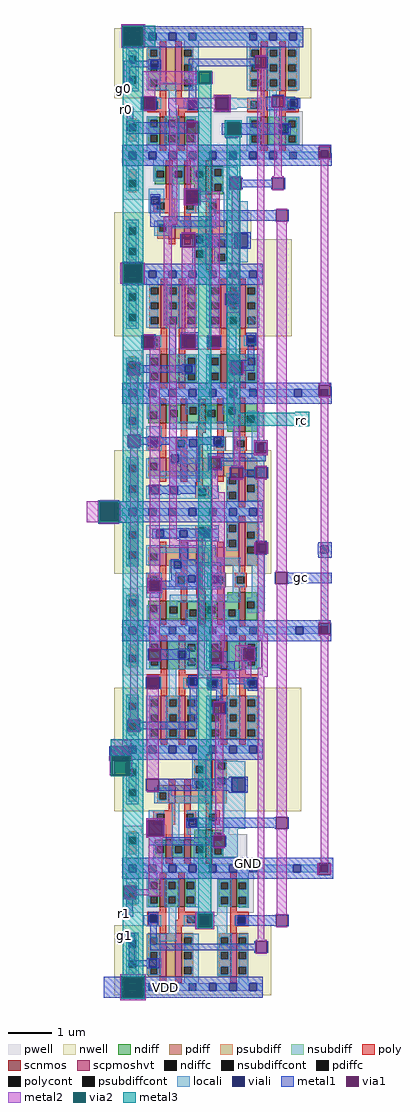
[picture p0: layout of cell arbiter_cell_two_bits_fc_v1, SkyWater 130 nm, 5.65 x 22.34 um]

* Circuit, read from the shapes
.subckt arbiter_cell_two_bits_fc_v1 gc rc GND r0 g0 g1 r1 VDD
XM1 g1 sky130_fd_sc_hd__nand2_1_2/A GND GND sky130_fd_pr__nfet_01v8 w=0.65 l=0.15
XM2 n1 sky130_fd_sc_hd__or4_1_1/A GND GND sky130_fd_pr__nfet_01v8 w=0.42 l=0.15 m=4
XM3 n2 sky130_fd_sc_hd__nand2_1_0/A GND GND sky130_fd_pr__nfet_01v8 w=0.42 l=0.15 m=4
XM4 g0 sky130_fd_sc_hd__nor2_1_1/A GND GND sky130_fd_pr__nfet_01v8 w=0.65 l=0.15
XM5 n3 sky130_fd_sc_hd__nand2_1_0/B GND GND sky130_fd_pr__nfet_01v8 w=0.65 l=0.15
XM6 n4 sky130_fd_sc_hd__or4_1_1/A GND GND sky130_fd_pr__nfet_01v8 w=0.65 l=0.15
XM7 n5 r1 GND GND sky130_fd_pr__nfet_01v8 w=0.42 l=0.15
XM8 n6 gc GND GND sky130_fd_pr__nfet_01v8 w=0.42 l=0.15
XM9 GND sky130_fd_sc_hd__nor2_1_1/A g1 GND sky130_fd_pr__nfet_01v8 w=0.65 l=0.15
XM10 GND sky130_fd_sc_hd__nand2_1_3/A g0 GND sky130_fd_pr__nfet_01v8 w=0.65 l=0.15
XM11 sky130_fd_sc_hd__or4_1_1/A sky130_fd_sc_hd__nand2_1_0/A n3 GND sky130_fd_pr__nfet_01v8 w=0.65 l=0.15
XM12 sky130_fd_sc_hd__nand2_1_0/A sky130_fd_sc_hd__nand2_1_1/A n4 GND sky130_fd_pr__nfet_01v8 w=0.65 l=0.15
XM13 GND gc n5 GND sky130_fd_pr__nfet_01v8 w=0.42 l=0.15
XM14 GND r0 n6 GND sky130_fd_pr__nfet_01v8 w=0.42 l=0.15
XM15 sky130_fd_sc_hd__nand2_1_0/B n5 GND GND sky130_fd_pr__nfet_01v8 w=0.65 l=0.15
XM16 sky130_fd_sc_hd__nand2_1_1/A n6 GND GND sky130_fd_pr__nfet_01v8 w=0.65 l=0.15
XM17 n7 r1 GND GND sky130_fd_pr__nfet_01v8 w=0.65 l=0.15
XM18 n8 r0 GND GND sky130_fd_pr__nfet_01v8 w=0.65 l=0.15
XM19 GND gc sky130_fd_sc_hd__nor2_1_1/A GND sky130_fd_pr__nfet_01v8 w=0.65 l=0.15
XM20 sky130_fd_sc_hd__nand2_1_2/A n1 GND GND sky130_fd_pr__nfet_01v8 w=0.65 l=0.15
XM21 sky130_fd_sc_hd__nand2_1_3/A n2 GND GND sky130_fd_pr__nfet_01v8 w=0.65 l=0.15
XM22 sky130_fd_sc_hd__nand2_1_4/B sky130_fd_sc_hd__nand2_1_3/A n7 GND sky130_fd_pr__nfet_01v8 w=0.65 l=0.15
XM23 sky130_fd_sc_hd__nand2_1_4/A sky130_fd_sc_hd__nand2_1_2/A n8 GND sky130_fd_pr__nfet_01v8 w=0.65 l=0.15
XM24 n9 sky130_fd_sc_hd__nand2_1_4/B GND GND sky130_fd_pr__nfet_01v8 w=0.65 l=0.15
XM25 rc sky130_fd_sc_hd__nand2_1_4/A n9 GND sky130_fd_pr__nfet_01v8 w=0.65 l=0.15
XM26 n10 sky130_fd_sc_hd__nand2_1_2/A g1 VDD sky130_fd_pr__pfet_01v8_hvt w=1 l=0.15
XM27 n11 sky130_fd_sc_hd__or4_1_1/A n1 VDD sky130_fd_pr__pfet_01v8_hvt w=0.42 l=0.15
XM28 n12 sky130_fd_sc_hd__nand2_1_0/A n2 VDD sky130_fd_pr__pfet_01v8_hvt w=0.42 l=0.15
XM29 n13 sky130_fd_sc_hd__nor2_1_1/A g0 VDD sky130_fd_pr__pfet_01v8_hvt w=1 l=0.15
XM30 sky130_fd_sc_hd__or4_1_1/A sky130_fd_sc_hd__nand2_1_0/B VDD VDD sky130_fd_pr__pfet_01v8_hvt w=1 l=0.15
XM31 sky130_fd_sc_hd__nand2_1_0/A sky130_fd_sc_hd__or4_1_1/A VDD VDD sky130_fd_pr__pfet_01v8_hvt w=1 l=0.15
XM32 n14 r1 n5 VDD sky130_fd_pr__pfet_01v8_hvt w=0.42 l=0.15
XM33 n15 gc n6 VDD sky130_fd_pr__pfet_01v8_hvt w=0.42 l=0.15
XM34 VDD sky130_fd_sc_hd__nor2_1_1/A n10 VDD sky130_fd_pr__pfet_01v8_hvt w=1 l=0.15
XM35 VDD sky130_fd_sc_hd__nand2_1_3/A n13 VDD sky130_fd_pr__pfet_01v8_hvt w=1 l=0.15
XM36 VDD sky130_fd_sc_hd__nand2_1_0/A sky130_fd_sc_hd__or4_1_1/A VDD sky130_fd_pr__pfet_01v8_hvt w=1 l=0.15
XM37 VDD sky130_fd_sc_hd__nand2_1_1/A sky130_fd_sc_hd__nand2_1_0/A VDD sky130_fd_pr__pfet_01v8_hvt w=1 l=0.15
XM38 n16 sky130_fd_sc_hd__or4_1_1/A n11 VDD sky130_fd_pr__pfet_01v8_hvt w=0.42 l=0.15
XM39 n17 sky130_fd_sc_hd__nand2_1_0/A n12 VDD sky130_fd_pr__pfet_01v8_hvt w=0.42 l=0.15
XM40 VDD gc n14 VDD sky130_fd_pr__pfet_01v8_hvt w=0.42 l=0.15
XM41 VDD r0 n15 VDD sky130_fd_pr__pfet_01v8_hvt w=0.42 l=0.15
XM42 n18 sky130_fd_sc_hd__or4_1_1/A n16 VDD sky130_fd_pr__pfet_01v8_hvt w=0.42 l=0.15
XM43 n19 sky130_fd_sc_hd__nand2_1_0/A n17 VDD sky130_fd_pr__pfet_01v8_hvt w=0.42 l=0.15
XM44 sky130_fd_sc_hd__nand2_1_0/B n5 VDD VDD sky130_fd_pr__pfet_01v8_hvt w=1 l=0.15
XM45 sky130_fd_sc_hd__nand2_1_1/A n6 VDD VDD sky130_fd_pr__pfet_01v8_hvt w=1 l=0.15
XM46 VDD sky130_fd_sc_hd__or4_1_1/A n18 VDD sky130_fd_pr__pfet_01v8_hvt w=0.42 l=0.15
XM47 VDD sky130_fd_sc_hd__nand2_1_0/A n19 VDD sky130_fd_pr__pfet_01v8_hvt w=0.42 l=0.15
XM48 sky130_fd_sc_hd__nand2_1_4/B r1 VDD VDD sky130_fd_pr__pfet_01v8_hvt w=1 l=0.15
XM49 sky130_fd_sc_hd__nand2_1_4/A r0 VDD VDD sky130_fd_pr__pfet_01v8_hvt w=1 l=0.15
XM50 VDD gc sky130_fd_sc_hd__nor2_1_1/A VDD sky130_fd_pr__pfet_01v8_hvt w=1 l=0.15
XM51 sky130_fd_sc_hd__nand2_1_2/A n1 VDD VDD sky130_fd_pr__pfet_01v8_hvt w=1 l=0.15
XM52 sky130_fd_sc_hd__nand2_1_3/A n2 VDD VDD sky130_fd_pr__pfet_01v8_hvt w=1 l=0.15
XM53 VDD sky130_fd_sc_hd__nand2_1_3/A sky130_fd_sc_hd__nand2_1_4/B VDD sky130_fd_pr__pfet_01v8_hvt w=1 l=0.15
XM54 VDD sky130_fd_sc_hd__nand2_1_2/A sky130_fd_sc_hd__nand2_1_4/A VDD sky130_fd_pr__pfet_01v8_hvt w=1 l=0.15
XM55 rc sky130_fd_sc_hd__nand2_1_4/B VDD VDD sky130_fd_pr__pfet_01v8_hvt w=1 l=0.15
XM56 VDD sky130_fd_sc_hd__nand2_1_4/A rc VDD sky130_fd_pr__pfet_01v8_hvt w=1 l=0.15
.ends

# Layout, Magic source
magic
tech sky130A
magscale 1 2
<< nwell >>
rect 4657 6706 5362 6991
rect 4657 6670 4695 6706
rect 4780 6670 5362 6706
rect 4657 6026 4799 6148
rect 4657 5582 5470 6026
rect 4657 4494 4799 5060
rect 4657 3956 5079 3972
rect 4657 3867 5078 3956
rect 5166 3909 5515 3972
rect 5165 3867 5515 3909
rect 4657 3406 5515 3867
rect 4657 2872 4780 2884
rect 4657 2563 4799 2872
<< pwell >>
rect 4698 6430 5434 6612
rect 4699 6206 5184 6388
rect 4880 5510 5225 5524
rect 4880 5381 4891 5510
rect 5060 5381 5225 5510
rect 4880 5342 5225 5381
rect 4713 5158 5286 5294
rect 4760 4396 5338 4436
rect 4698 4260 5338 4396
rect 4760 4254 5338 4260
rect 4695 4030 5287 4212
rect 4742 3166 5268 3302
rect 4708 2942 5293 3124
<< poly >>
rect 5281 3968 5297 3999
<< locali >>
rect 5034 6965 5265 6970
rect 5034 6941 5334 6965
rect 5046 6936 5334 6941
rect 4712 6703 4747 6874
rect 5178 6669 5219 6673
rect 5178 6628 5304 6669
rect 5178 6621 5219 6628
rect 4695 6400 5603 6426
rect 5637 6400 5641 6426
rect 4695 6397 5641 6400
rect 5414 6392 5641 6397
rect 5160 6136 5270 6199
rect 5207 6051 5270 6136
rect 5207 5919 5270 5988
rect 5275 5630 5309 5685
rect 4794 5579 4841 5585
rect 4695 5304 4724 5338
rect 4758 5304 5482 5338
rect 5516 5304 5603 5338
rect 4814 5118 4866 5151
rect 4814 5084 4824 5118
rect 4858 5109 5114 5118
rect 4858 5084 5002 5109
rect 4814 5062 4866 5084
rect 5036 5084 5114 5109
rect 5148 5084 5159 5117
rect 5091 5074 5159 5084
rect 5288 5088 5346 5096
rect 5091 5072 5107 5074
rect 5091 5056 5163 5072
rect 5288 5062 5312 5088
rect 4903 4861 4915 4893
rect 4949 4861 5085 4893
rect 4903 4859 5085 4861
rect 5312 4828 5346 5054
rect 4705 4760 4724 4794
rect 4758 4760 5308 4794
rect 5045 4694 5079 4699
rect 5045 4665 5068 4694
rect 5314 4322 5348 4592
rect 5603 4254 5637 4588
rect 5469 4250 5603 4254
rect 4695 4216 4724 4250
rect 4758 4216 5489 4250
rect 5523 4220 5603 4250
rect 5523 4216 5527 4220
rect 4906 4142 5037 4160
rect 5241 4149 5281 4151
rect 4906 4107 4950 4142
rect 4985 4107 5037 4142
rect 5239 4140 5281 4149
rect 5239 4130 5262 4140
rect 4906 4080 5037 4107
rect 5220 4111 5262 4130
rect 5220 4090 5254 4111
rect 4981 3984 5004 4016
rect 5038 3984 5040 4016
rect 5092 4008 5138 4022
rect 5102 4006 5138 4008
rect 4981 3982 5040 3984
rect 5127 3998 5138 4006
rect 5080 3830 5102 3858
rect 5195 3559 5258 3635
rect 5195 3389 5258 3496
rect 5160 3326 5258 3389
rect 5310 3128 5478 3162
rect 5512 3128 5603 3162
rect 4794 2898 4820 2930
rect 4854 2898 4874 2901
rect 4794 2885 4874 2898
rect 4983 2881 5048 2930
rect 5097 2881 5163 2930
rect 5127 2878 5163 2881
rect 4885 2584 5084 2618
<< viali >>
rect 4825 6810 4859 6844
rect 4792 6625 4840 6673
rect 5000 6628 5034 6662
rect 5126 6621 5178 6673
rect 5464 6632 5498 6666
rect 5415 6511 5455 6551
rect 5603 6400 5637 6434
rect 4828 6185 4863 6220
rect 4989 6194 5042 6247
rect 5207 5988 5270 6051
rect 5178 5730 5221 5773
rect 4794 5532 4841 5579
rect 4976 5534 5026 5584
rect 5097 5537 5137 5577
rect 5268 5551 5302 5585
rect 4982 5414 5016 5448
rect 4724 5304 4758 5338
rect 5482 5304 5516 5338
rect 5603 5304 5637 5338
rect 4824 5084 4858 5118
rect 5002 5075 5036 5109
rect 5114 5084 5148 5118
rect 5312 5054 5346 5088
rect 4919 5005 4953 5039
rect 4827 4861 4861 4895
rect 4915 4861 4949 4895
rect 4724 4760 4758 4794
rect 4851 4660 4885 4694
rect 4959 4660 4993 4694
rect 5068 4659 5102 4693
rect 5311 4592 5351 4632
rect 4932 4518 4966 4552
rect 4824 4419 4864 4459
rect 4996 4454 5030 4488
rect 5104 4450 5138 4484
rect 5603 4588 5637 4622
rect 4724 4216 4758 4250
rect 5489 4216 5523 4250
rect 5603 4220 5637 4254
rect 4950 4107 4985 4142
rect 5262 4106 5296 4140
rect 4814 3974 4856 4016
rect 5004 3984 5038 4018
rect 5093 3972 5127 4006
rect 5276 3971 5310 4005
rect 5195 3496 5258 3559
rect 4816 3298 4878 3360
rect 5000 3336 5035 3371
rect 5478 3128 5512 3162
rect 5603 3128 5637 3162
rect 4820 2898 4854 2932
rect 5048 2881 5097 2930
rect 5223 2889 5258 2924
rect 4819 2694 4853 2728
<< metal1 >>
rect 4697 7003 4793 7009
rect 4695 6905 4696 7001
rect 4793 6907 4799 7001
rect 5053 6984 5281 7001
rect 4966 6970 5281 6984
rect 4966 6966 5267 6970
rect 4966 6935 5281 6966
rect 4697 6905 4799 6907
rect 5032 6905 5281 6935
rect 4697 6901 4793 6905
rect 5297 6852 5303 6861
rect 4813 6844 4871 6850
rect 4813 6842 4825 6844
rect 4702 6812 4825 6842
rect 4702 6736 4732 6812
rect 4813 6810 4825 6812
rect 4859 6810 4871 6844
rect 4813 6804 4871 6810
rect 5000 6818 5303 6852
rect 4695 6706 4733 6736
rect 4695 6603 4746 6633
rect 4780 6619 4786 6679
rect 4846 6619 4852 6679
rect 5000 6674 5034 6818
rect 5297 6809 5303 6818
rect 5355 6809 5361 6861
rect 5120 6679 5184 6685
rect 4994 6662 5040 6674
rect 4994 6628 5000 6662
rect 5034 6628 5040 6662
rect 4994 6616 5040 6628
rect 5382 6681 5434 6687
rect 5351 6632 5382 6678
rect 5354 6629 5382 6632
rect 5434 6672 5487 6678
rect 5434 6666 5510 6672
rect 5434 6632 5464 6666
rect 5498 6632 5510 6666
rect 5434 6629 5510 6632
rect 5354 6626 5510 6629
rect 5354 6616 5487 6626
rect 5120 6609 5184 6615
rect 4715 6561 4745 6603
rect 4715 6508 4989 6561
rect 5042 6508 5048 6561
rect 5165 6557 5243 6571
rect 4715 6507 4745 6508
rect 5151 6505 5178 6557
rect 5230 6551 5467 6557
rect 5230 6511 5415 6551
rect 5455 6511 5467 6551
rect 5230 6505 5467 6511
rect 5165 6492 5243 6505
rect 5169 6489 5221 6492
rect 4758 6361 4799 6457
rect 5402 6448 5652 6457
rect 5402 6396 5594 6448
rect 5646 6419 5652 6448
rect 5646 6396 5653 6419
rect 5402 6392 5653 6396
rect 5238 6361 5653 6392
rect 4976 6253 5055 6259
rect 5182 6255 5188 6307
rect 5240 6298 5246 6307
rect 5376 6298 5382 6307
rect 5240 6264 5382 6298
rect 5240 6255 5246 6264
rect 5376 6255 5382 6264
rect 5434 6255 5440 6307
rect 4822 6220 4869 6232
rect 4822 6185 4828 6220
rect 4863 6185 4869 6220
rect 4822 6130 4869 6185
rect 4976 6188 4983 6253
rect 5048 6188 5055 6253
rect 4976 6181 5055 6188
rect 5393 6158 5399 6160
rect 5115 6130 5399 6158
rect 4822 6111 5399 6130
rect 4822 6083 5162 6111
rect 5393 6108 5399 6111
rect 5451 6108 5457 6160
rect 5195 6051 5282 6057
rect 4961 5988 4967 6051
rect 5030 5988 5207 6051
rect 5270 5988 5282 6051
rect 5195 5982 5282 5988
rect 4695 5917 4791 5923
rect 4791 5821 4799 5913
rect 4695 5817 4799 5821
rect 4695 5815 4791 5817
rect 5172 5779 5227 5785
rect 5166 5724 5172 5779
rect 5227 5724 5233 5779
rect 5172 5718 5227 5724
rect 4788 5585 4847 5591
rect 4962 5590 5044 5599
rect 4782 5526 4788 5585
rect 4840 5579 4847 5585
rect 4841 5532 4847 5579
rect 4840 5526 4847 5532
rect 4961 5527 4967 5590
rect 5030 5527 5044 5590
rect 5262 5585 5308 5597
rect 5085 5531 5091 5583
rect 5143 5531 5149 5583
rect 5262 5551 5268 5585
rect 5302 5551 5308 5585
rect 5262 5539 5308 5551
rect 4788 5520 4847 5526
rect 4962 5522 5044 5527
rect 5270 5472 5300 5539
rect 5187 5464 5300 5472
rect 4717 5405 4723 5457
rect 4775 5448 4781 5457
rect 4970 5448 5028 5454
rect 4775 5414 4982 5448
rect 5016 5414 5028 5448
rect 5187 5442 5194 5464
rect 4775 5405 4781 5414
rect 4970 5408 5028 5414
rect 5246 5423 5300 5464
rect 5194 5406 5246 5412
rect 4695 5338 4799 5369
rect 5282 5358 5652 5369
rect 5282 5338 5594 5358
rect 5646 5351 5652 5358
rect 4695 5304 4724 5338
rect 4758 5304 4799 5338
rect 5305 5332 5482 5338
rect 4695 5273 4799 5304
rect 5255 5304 5482 5332
rect 5516 5306 5594 5338
rect 5646 5306 5655 5351
rect 5516 5304 5603 5306
rect 5637 5304 5655 5306
rect 5255 5301 5655 5304
rect 5259 5273 5655 5301
rect 4723 5127 4775 5133
rect 4812 5118 4870 5124
rect 4997 5118 5043 5120
rect 5102 5118 5160 5124
rect 4775 5084 4824 5118
rect 4858 5109 5114 5118
rect 4858 5084 5002 5109
rect 4812 5078 4870 5084
rect 4723 5069 4775 5075
rect 4911 5075 5002 5084
rect 5036 5084 5114 5109
rect 5148 5084 5160 5118
rect 5036 5075 5050 5084
rect 5102 5078 5160 5084
rect 5296 5097 5362 5104
rect 4911 5039 5050 5075
rect 5296 5046 5303 5097
rect 4911 5005 4919 5039
rect 4953 5005 5050 5039
rect 4911 4914 5050 5005
rect 5086 5045 5303 5046
rect 5355 5045 5362 5097
rect 5086 5037 5362 5045
rect 5086 5026 5351 5037
rect 5086 4974 5092 5026
rect 5144 5010 5351 5026
rect 5144 4974 5151 5010
rect 5086 4967 5151 4974
rect 5188 4930 5194 4982
rect 5246 4971 5252 4982
rect 5299 4971 5305 4982
rect 5246 4941 5305 4971
rect 5246 4930 5252 4941
rect 5299 4930 5305 4941
rect 5357 4930 5363 4982
rect 4911 4901 5032 4914
rect 4815 4897 4873 4901
rect 4903 4897 5032 4901
rect 4815 4895 5032 4897
rect 4815 4861 4827 4895
rect 4861 4861 4915 4895
rect 4949 4861 5032 4895
rect 4815 4859 5032 4861
rect 4815 4855 4873 4859
rect 4903 4855 4961 4859
rect 4585 4826 4681 4831
rect 4585 4825 4746 4826
rect 4681 4794 4799 4825
rect 5055 4819 5089 4825
rect 4681 4760 4724 4794
rect 4758 4760 4799 4794
rect 4681 4729 4799 4760
rect 4585 4728 4746 4729
rect 4585 4723 4681 4728
rect 4946 4700 5002 4701
rect 4833 4699 5002 4700
rect 4833 4694 5137 4699
rect 4833 4660 4851 4694
rect 4885 4660 4959 4694
rect 4993 4693 5137 4694
rect 4993 4660 5068 4693
rect 4833 4659 5068 4660
rect 5102 4659 5137 4693
rect 4833 4654 5137 4659
rect 4956 4643 5137 4654
rect 4956 4560 4996 4643
rect 5305 4638 5357 4644
rect 5593 4628 5654 4639
rect 5305 4580 5357 4586
rect 5591 4622 5654 4628
rect 5591 4588 5603 4622
rect 5637 4588 5654 4622
rect 5591 4582 5654 4588
rect 5593 4568 5654 4582
rect 4916 4552 5028 4560
rect 4916 4518 4932 4552
rect 4966 4546 5028 4552
rect 4966 4518 5149 4546
rect 4916 4497 5149 4518
rect 4919 4488 5149 4497
rect 4809 4465 4879 4474
rect 4809 4413 4818 4465
rect 4870 4462 4879 4465
rect 4919 4462 4996 4488
rect 4870 4454 4996 4462
rect 5030 4484 5149 4488
rect 5030 4454 5104 4484
rect 4870 4450 5104 4454
rect 5138 4466 5149 4484
rect 5138 4450 5148 4466
rect 4870 4422 5148 4450
rect 5392 4449 5398 4501
rect 5450 4498 5456 4501
rect 5450 4451 5655 4498
rect 5450 4449 5456 4451
rect 4870 4413 4879 4422
rect 4809 4404 4879 4413
rect 4695 4250 4799 4281
rect 4695 4216 4724 4250
rect 4758 4248 4799 4250
rect 5279 4268 5650 4281
rect 5279 4250 5594 4268
rect 5279 4248 5489 4250
rect 4758 4219 5489 4248
rect 4758 4216 4799 4219
rect 4695 4185 4799 4216
rect 5229 4216 5489 4219
rect 5523 4216 5594 4250
rect 5646 4216 5652 4268
rect 5229 4206 5651 4216
rect 5293 4185 5651 4206
rect 5239 4155 5301 4157
rect 5239 4153 5309 4155
rect 4812 4098 4818 4150
rect 4870 4148 4876 4150
rect 4939 4148 5003 4151
rect 4870 4142 5003 4148
rect 4870 4107 4950 4142
rect 4985 4107 5003 4142
rect 4870 4101 5003 4107
rect 4870 4098 4876 4101
rect 4939 4099 5003 4101
rect 5095 4088 5101 4140
rect 5153 4092 5175 4140
rect 5239 4101 5248 4153
rect 5300 4101 5309 4153
rect 5239 4095 5309 4101
rect 5239 4093 5301 4095
rect 5153 4088 5210 4092
rect 5098 4063 5210 4088
rect 5142 4059 5210 4063
rect 5181 4042 5210 4059
rect 4802 3968 4808 4022
rect 4862 3968 4868 4022
rect 4998 4018 5044 4030
rect 5094 4018 5153 4021
rect 4998 3984 5004 4018
rect 5038 3984 5044 4018
rect 4998 3972 5044 3984
rect 5087 4006 5153 4018
rect 5087 3972 5093 4006
rect 5127 3972 5153 4006
rect 5181 4020 5215 4042
rect 5181 4019 5280 4020
rect 5181 4017 5309 4019
rect 5181 4005 5316 4017
rect 5181 3990 5276 4005
rect 5182 3987 5276 3990
rect 4717 3773 4723 3825
rect 4775 3816 4781 3825
rect 5004 3816 5038 3972
rect 5087 3960 5153 3972
rect 5255 3971 5276 3987
rect 5310 3971 5316 4005
rect 5255 3970 5316 3971
rect 5124 3905 5155 3960
rect 5270 3959 5316 3970
rect 5107 3853 5113 3905
rect 5165 3853 5171 3905
rect 4775 3782 5038 3816
rect 4775 3773 4781 3782
rect 4695 3705 4701 3737
rect 4635 3638 4641 3705
rect 4737 3638 4743 3705
rect 4787 3641 4799 3737
rect 5183 3559 5270 3565
rect 5183 3554 5195 3559
rect 4802 3500 4808 3554
rect 4862 3500 5195 3554
rect 5183 3496 5195 3500
rect 5258 3496 5270 3559
rect 5183 3490 5270 3496
rect 5393 3377 5399 3379
rect 4804 3366 4890 3375
rect 4804 3292 4810 3366
rect 4884 3292 4890 3366
rect 4988 3371 5399 3377
rect 4988 3336 5000 3371
rect 5035 3336 5399 3371
rect 4988 3330 5399 3336
rect 5393 3327 5399 3330
rect 5451 3327 5457 3379
rect 4804 3287 4890 3292
rect 5107 3287 5113 3295
rect 4804 3284 5113 3287
rect 4817 3251 5113 3284
rect 5107 3243 5113 3251
rect 5165 3243 5171 3295
rect 4787 3097 4799 3193
rect 5285 3187 5661 3193
rect 5219 3184 5661 3187
rect 5218 3170 5661 3184
rect 5215 3168 5661 3170
rect 5215 3162 5594 3168
rect 5215 3139 5478 3162
rect 5218 3128 5478 3139
rect 5512 3128 5594 3162
rect 5218 3116 5594 3128
rect 5646 3116 5661 3168
rect 5218 3097 5661 3116
rect 4696 3010 4702 3062
rect 4754 3010 4760 3062
rect 4714 2951 4742 3010
rect 4695 2923 4744 2951
rect 4814 2932 4860 2944
rect 4814 2898 4820 2932
rect 4854 2898 4860 2932
rect 4814 2886 4860 2898
rect 5030 2936 5117 2947
rect 4695 2821 4752 2849
rect 4724 2725 4752 2821
rect 4822 2800 4852 2886
rect 5030 2875 5042 2936
rect 5103 2875 5117 2936
rect 5393 2930 5399 2932
rect 5211 2924 5399 2930
rect 5211 2889 5223 2924
rect 5258 2889 5399 2924
rect 5211 2883 5399 2889
rect 5393 2880 5399 2883
rect 5451 2880 5457 2932
rect 5030 2866 5117 2875
rect 5299 2800 5305 2811
rect 4822 2770 5305 2800
rect 5299 2759 5305 2770
rect 5357 2759 5363 2811
rect 4807 2728 4865 2734
rect 4807 2725 4819 2728
rect 4724 2697 4819 2725
rect 4807 2694 4819 2697
rect 4853 2694 4865 2728
rect 4807 2688 4865 2694
rect 4611 2553 4695 2649
rect 4791 2553 5081 2649
<< via1 >>
rect 4697 6907 4793 7003
rect 4786 6673 4846 6679
rect 4786 6625 4792 6673
rect 4792 6625 4840 6673
rect 4840 6625 4846 6673
rect 4786 6619 4846 6625
rect 5303 6809 5355 6861
rect 5120 6673 5184 6679
rect 5120 6621 5126 6673
rect 5126 6621 5178 6673
rect 5178 6621 5184 6673
rect 5120 6615 5184 6621
rect 5382 6629 5434 6681
rect 4989 6508 5042 6561
rect 5178 6505 5230 6557
rect 5594 6434 5646 6448
rect 5594 6400 5603 6434
rect 5603 6400 5637 6434
rect 5637 6400 5646 6434
rect 5594 6396 5646 6400
rect 5188 6255 5240 6307
rect 5382 6255 5434 6307
rect 4983 6247 5048 6253
rect 4983 6194 4989 6247
rect 4989 6194 5042 6247
rect 5042 6194 5048 6247
rect 4983 6188 5048 6194
rect 5399 6108 5451 6160
rect 4967 5988 5030 6051
rect 4695 5821 4791 5917
rect 5172 5773 5227 5779
rect 5172 5730 5178 5773
rect 5178 5730 5221 5773
rect 5221 5730 5227 5773
rect 5172 5724 5227 5730
rect 4788 5579 4840 5585
rect 4788 5532 4794 5579
rect 4794 5532 4840 5579
rect 4788 5526 4840 5532
rect 4967 5584 5030 5590
rect 4967 5534 4976 5584
rect 4976 5534 5026 5584
rect 5026 5534 5030 5584
rect 4967 5527 5030 5534
rect 5091 5577 5143 5583
rect 5091 5537 5097 5577
rect 5097 5537 5137 5577
rect 5137 5537 5143 5577
rect 5091 5531 5143 5537
rect 4723 5405 4775 5457
rect 5194 5412 5246 5464
rect 5594 5338 5646 5358
rect 5594 5306 5603 5338
rect 5603 5306 5637 5338
rect 5637 5306 5646 5338
rect 4723 5075 4775 5127
rect 5303 5088 5355 5097
rect 5303 5054 5312 5088
rect 5312 5054 5346 5088
rect 5346 5054 5355 5088
rect 5303 5045 5355 5054
rect 5092 4974 5144 5026
rect 5194 4930 5246 4982
rect 5305 4930 5357 4982
rect 4585 4729 4681 4825
rect 5305 4632 5357 4638
rect 5305 4592 5311 4632
rect 5311 4592 5351 4632
rect 5351 4592 5357 4632
rect 5305 4586 5357 4592
rect 4818 4459 4870 4465
rect 4818 4419 4824 4459
rect 4824 4419 4864 4459
rect 4864 4419 4870 4459
rect 5398 4449 5450 4501
rect 4818 4413 4870 4419
rect 5594 4254 5646 4268
rect 5594 4220 5603 4254
rect 5603 4220 5637 4254
rect 5637 4220 5646 4254
rect 5594 4216 5646 4220
rect 4818 4098 4870 4150
rect 5101 4088 5153 4140
rect 5248 4140 5300 4153
rect 5248 4106 5262 4140
rect 5262 4106 5296 4140
rect 5296 4106 5300 4140
rect 5248 4101 5300 4106
rect 4808 4016 4862 4022
rect 4808 3974 4814 4016
rect 4814 3974 4856 4016
rect 4856 3974 4862 4016
rect 4808 3968 4862 3974
rect 4723 3773 4775 3825
rect 5113 3853 5165 3905
rect 4641 3638 4737 3705
rect 4808 3500 4862 3554
rect 4810 3360 4884 3366
rect 4810 3298 4816 3360
rect 4816 3298 4878 3360
rect 4878 3298 4884 3360
rect 4810 3292 4884 3298
rect 5399 3327 5451 3379
rect 5113 3243 5165 3295
rect 5594 3162 5646 3168
rect 5594 3128 5603 3162
rect 5603 3128 5637 3162
rect 5637 3128 5646 3162
rect 5594 3116 5646 3128
rect 4702 3010 4754 3062
rect 5042 2930 5103 2936
rect 5042 2881 5048 2930
rect 5048 2881 5097 2930
rect 5097 2881 5103 2930
rect 5042 2875 5103 2881
rect 5399 2880 5451 2932
rect 5305 2759 5357 2811
rect 4695 2553 4791 2649
<< metal2 >>
rect 4690 7003 4799 7011
rect 4690 6907 4697 7003
rect 4793 6907 4799 7003
rect 4690 6902 4799 6907
rect 5303 6861 5355 6867
rect 5303 6803 5355 6809
rect 4786 6793 5102 6795
rect 4786 6737 5044 6793
rect 5100 6737 5109 6793
rect 4786 6735 5102 6737
rect 4786 6679 4846 6735
rect 5113 6679 5191 6687
rect 5113 6670 5120 6679
rect 4906 6625 5120 6670
rect 4786 6613 4846 6619
rect 4910 6129 4947 6625
rect 5113 6615 5120 6625
rect 5184 6615 5191 6679
rect 5113 6607 5191 6615
rect 4989 6561 5042 6567
rect 4989 6259 5042 6508
rect 5165 6561 5243 6571
rect 5165 6501 5174 6561
rect 5234 6501 5243 6561
rect 5165 6492 5243 6501
rect 5188 6307 5240 6313
rect 4976 6253 5055 6259
rect 4976 6188 4983 6253
rect 5048 6246 5055 6253
rect 5188 6249 5240 6255
rect 5048 6196 5142 6246
rect 5048 6188 5055 6196
rect 4976 6181 5055 6188
rect 4884 6092 4947 6129
rect 4686 5821 4695 5917
rect 4791 5821 4797 5917
rect 4884 5668 4921 6092
rect 4967 6051 5030 6057
rect 4884 5632 4939 5668
rect 4788 5585 4840 5591
rect 4840 5526 4867 5579
rect 4788 5520 4867 5526
rect 4723 5457 4775 5463
rect 4723 5399 4775 5405
rect 4732 5127 4766 5399
rect 4717 5075 4723 5127
rect 4775 5075 4781 5127
rect 4591 4825 4677 4829
rect 4532 4729 4585 4825
rect 4681 4729 4687 4825
rect 4591 4725 4677 4729
rect 4732 3831 4766 5075
rect 4820 4474 4867 5520
rect 4909 5381 4939 5632
rect 4967 5590 5030 5988
rect 5092 5589 5142 6196
rect 5197 5785 5231 6249
rect 5172 5779 5231 5785
rect 5227 5724 5231 5779
rect 5172 5688 5231 5724
rect 4967 5521 5030 5527
rect 5091 5583 5143 5589
rect 5091 5525 5143 5531
rect 5188 5412 5194 5464
rect 5246 5412 5252 5464
rect 4909 4648 4944 5381
rect 5092 5026 5144 5032
rect 5205 4988 5235 5412
rect 5312 5104 5346 6803
rect 5376 6629 5382 6681
rect 5434 6629 5440 6681
rect 5391 6313 5425 6629
rect 5594 6448 5646 6454
rect 5594 6390 5646 6396
rect 5382 6307 5434 6313
rect 5382 6249 5434 6255
rect 5399 6160 5451 6166
rect 5399 6102 5451 6108
rect 5296 5097 5362 5104
rect 5296 5045 5303 5097
rect 5355 5045 5362 5097
rect 5296 5037 5362 5045
rect 5092 4968 5144 4974
rect 5194 4982 5246 4988
rect 5104 4867 5133 4968
rect 5194 4924 5246 4930
rect 5305 4982 5357 4988
rect 5305 4924 5357 4930
rect 5104 4838 5164 4867
rect 4909 4613 5077 4648
rect 4809 4465 4879 4474
rect 4809 4413 4818 4465
rect 4870 4413 4879 4465
rect 4809 4404 4879 4413
rect 4820 4156 4867 4404
rect 4818 4150 4870 4156
rect 4818 4092 4870 4098
rect 5038 4051 5073 4613
rect 5105 4213 5164 4838
rect 5316 4638 5346 4924
rect 5299 4586 5305 4638
rect 5357 4586 5363 4638
rect 5101 4154 5164 4213
rect 5316 4220 5346 4586
rect 5401 4507 5448 6102
rect 5603 5364 5637 6390
rect 5594 5358 5646 5364
rect 5594 5300 5646 5306
rect 5398 4501 5450 4507
rect 5398 4443 5450 4449
rect 5316 4190 5362 4220
rect 5211 4160 5282 4167
rect 5101 4140 5160 4154
rect 5153 4088 5160 4140
rect 5211 4153 5301 4160
rect 5211 4101 5248 4153
rect 5300 4101 5301 4153
rect 5211 4093 5301 4101
rect 5101 4083 5160 4088
rect 5101 4082 5153 4083
rect 5243 4051 5285 4093
rect 5332 4064 5362 4190
rect 4808 4022 4862 4028
rect 5038 4016 5285 4051
rect 5316 4022 5362 4064
rect 4723 3825 4775 3831
rect 4723 3767 4775 3773
rect 4641 3705 4737 3734
rect 4637 3638 4641 3657
rect 4737 3638 4741 3657
rect 4637 3571 4646 3638
rect 4732 3571 4741 3638
rect 4641 3566 4737 3571
rect 4808 3554 4862 3968
rect 5113 3905 5165 3911
rect 5113 3847 5165 3853
rect 4808 3494 4862 3500
rect 4804 3366 4890 3375
rect 4804 3292 4810 3366
rect 4884 3292 4890 3366
rect 5121 3301 5157 3847
rect 4804 3284 4890 3292
rect 5113 3295 5165 3301
rect 4702 3062 4754 3068
rect 4816 3050 4878 3284
rect 5113 3237 5165 3243
rect 4754 3022 4878 3050
rect 4816 3016 4878 3022
rect 4702 3004 4754 3010
rect 5030 2936 5117 2947
rect 5030 2875 5042 2936
rect 5103 2875 5117 2936
rect 5030 2866 5117 2875
rect 5316 2817 5346 4022
rect 5401 3385 5448 4443
rect 5603 4274 5637 5300
rect 5594 4268 5646 4274
rect 5594 4210 5646 4216
rect 5399 3379 5451 3385
rect 5399 3321 5451 3327
rect 5401 2938 5448 3321
rect 5603 3168 5637 4210
rect 5588 3116 5594 3168
rect 5646 3116 5652 3168
rect 5399 2932 5451 2938
rect 5399 2874 5451 2880
rect 5305 2811 5357 2817
rect 5305 2753 5357 2759
rect 4685 2649 4803 2659
rect 4685 2553 4695 2649
rect 4792 2553 4803 2649
rect 4685 2542 4803 2553
<< via2 >>
rect 4700 6912 4786 6998
rect 5044 6737 5100 6793
rect 5174 6557 5234 6561
rect 5174 6505 5178 6557
rect 5178 6505 5230 6557
rect 5230 6505 5234 6557
rect 5174 6501 5234 6505
rect 4701 5826 4787 5912
rect 4591 4734 4677 4820
rect 4646 3638 4732 3657
rect 4646 3571 4732 3638
rect 5042 2875 5103 2936
rect 4696 2553 4791 2649
rect 4791 2553 4792 2649
<< metal3 >>
rect 4695 6998 4845 7003
rect 4695 6912 4700 6998
rect 4786 6912 4845 6998
rect 4695 6907 4845 6912
rect 4696 5912 4792 6907
rect 5039 6793 5105 6798
rect 5039 6737 5044 6793
rect 5100 6737 5105 6793
rect 5039 6732 5105 6737
rect 4696 5826 4701 5912
rect 4787 5826 4792 5912
rect 4696 4825 4792 5826
rect 4586 4820 4792 4825
rect 4586 4734 4591 4820
rect 4677 4734 4792 4820
rect 4586 4729 4792 4734
rect 4696 3737 4792 4729
rect 4641 3657 4792 3737
rect 4641 3571 4646 3657
rect 4732 3571 4792 3657
rect 4641 3566 4792 3571
rect 4696 2654 4792 3566
rect 5042 2941 5102 6732
rect 5165 6561 5243 6571
rect 5165 6501 5174 6561
rect 5234 6501 5243 6561
rect 5165 6492 5243 6501
rect 5174 5232 5234 6492
rect 5486 5232 5552 5235
rect 5174 5172 5552 5232
rect 5486 5169 5552 5172
rect 5037 2936 5108 2941
rect 5037 2875 5042 2936
rect 5103 2875 5108 2936
rect 5037 2870 5108 2875
rect 4691 2649 4797 2654
rect 4691 2553 4696 2649
rect 4792 2553 4797 2649
rect 4691 2548 4797 2553
use sky130_fd_sc_hd__inv_1  sky130_fd_sc_hd__inv_1_0 $PDKPATH/libs.ref/sky130_fd_sc_hd/mag
transform -1 0 5339 0 -1 3145
box -38 -48 314 592
use sky130_fd_sc_hd__nand2_1  sky130_fd_sc_hd__nand2_1_0 $PDKPATH/libs.ref/sky130_fd_sc_hd/mag
transform 1 0 4787 0 -1 4233
box -38 -48 314 592
use sky130_fd_sc_hd__nand2_1  sky130_fd_sc_hd__nand2_1_1
transform 1 0 4787 0 1 5321
box -38 -48 314 592
use sky130_fd_sc_hd__nand2_1  sky130_fd_sc_hd__nand2_1_2
transform 1 0 5063 0 1 5321
box -38 -48 314 592
use sky130_fd_sc_hd__nand2_1  sky130_fd_sc_hd__nand2_1_3
transform 1 0 5063 0 -1 4233
box -38 -48 314 592
use sky130_fd_sc_hd__nand2_1  sky130_fd_sc_hd__nand2_1_4
transform 1 0 5247 0 1 6409
box -38 -48 314 592
use sky130_fd_sc_hd__nor2_1  sky130_fd_sc_hd__nor2_1_0 $PDKPATH/libs.ref/sky130_fd_sc_hd/mag
transform 1 0 4787 0 1 6409
box -38 -48 314 592
use sky130_fd_sc_hd__nor2_1  sky130_fd_sc_hd__nor2_1_1
transform 1 0 4787 0 -1 3145
box -38 -48 314 592
use sky130_fd_sc_hd__or2_1  sky130_fd_sc_hd__or2_1_0 $PDKPATH/libs.ref/sky130_fd_sc_hd/mag
transform 1 0 4787 0 -1 6409
box -38 -48 498 592
use sky130_fd_sc_hd__or2_1  sky130_fd_sc_hd__or2_1_1
transform 1 0 4787 0 1 3145
box -38 -48 498 592
use sky130_fd_sc_hd__or4_1  sky130_fd_sc_hd__or4_1_0 $PDKPATH/libs.ref/sky130_fd_sc_hd/mag
transform 1 0 4787 0 -1 5321
box -38 -48 590 592
use sky130_fd_sc_hd__or4_1  sky130_fd_sc_hd__or4_1_1
transform 1 0 4787 0 1 4233
box -38 -48 590 592
use sky130_fd_sc_hd__tapvpwrvgnd_1  sky130_fd_sc_hd__tapvpwrvgnd_1_0 $PDKPATH/libs.ref/sky130_fd_sc_hd/mag
transform 1 0 4695 0 1 5321
box -38 -48 130 592
use sky130_fd_sc_hd__tapvpwrvgnd_1  sky130_fd_sc_hd__tapvpwrvgnd_1_1
transform 1 0 4695 0 -1 5321
box -38 -48 130 592
use sky130_fd_sc_hd__tapvpwrvgnd_1  sky130_fd_sc_hd__tapvpwrvgnd_1_2
transform 1 0 4695 0 1 4233
box -38 -48 130 592
use sky130_fd_sc_hd__tapvpwrvgnd_1  sky130_fd_sc_hd__tapvpwrvgnd_1_3
transform 1 0 4695 0 1 3145
box -38 -48 130 592
use sky130_fd_sc_hd__tapvpwrvgnd_1  sky130_fd_sc_hd__tapvpwrvgnd_1_4
transform 1 0 4695 0 -1 3145
box -38 -48 130 592
use sky130_fd_sc_hd__tapvpwrvgnd_1  sky130_fd_sc_hd__tapvpwrvgnd_1_5
transform 1 0 4695 0 -1 6409
box -38 -48 130 592
use sky130_fd_sc_hd__tapvpwrvgnd_1  sky130_fd_sc_hd__tapvpwrvgnd_1_6
transform 1 0 4695 0 -1 4233
box -38 -48 130 592
use sky130_fd_sc_hd__tapvpwrvgnd_1  sky130_fd_sc_hd__tapvpwrvgnd_1_7
transform 1 0 4695 0 1 6409
box -38 -48 130 592
<< labels >>
flabel metal1 5493 4458 5540 4495 1 FreeSans 320 0 0 0 gc
port 40 n
flabel metal3 5511 5185 5521 5203 1 FreeSans 320 0 0 0 rc
port 41 n
flabel metal1 5267 3168 5279 3170 1 FreeSans 320 0 0 0 GND
port 43 n
flabel metal1 4705 6614 4719 6623 1 FreeSans 320 0 0 0 r0
port 44 n
flabel metal1 4698 6716 4702 6719 1 FreeSans 320 0 0 0 g0
port 45 n
flabel metal1 4700 2833 4708 2838 1 FreeSans 320 0 0 0 g1
port 46 n
flabel metal1 4701 2933 4707 2942 1 FreeSans 320 0 0 0 r1
port 47 n
flabel metal1 4890 2591 4898 2604 1 FreeSans 320 0 0 0 VDD
port 48 n
<< end >>

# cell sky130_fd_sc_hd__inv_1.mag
magic
tech sky130A
magscale 1 2
<< nwell >>
rect -38 261 314 582
<< pwell >>
rect 42 21 228 203
rect 42 17 63 21
rect 29 -17 63 17
<< scnmos >>
rect 120 47 150 177
<< scpmoshvt >>
rect 120 297 150 497
<< ndiff >>
rect 68 165 120 177
rect 68 131 76 165
rect 110 131 120 165
rect 68 97 120 131
rect 68 63 76 97
rect 110 63 120 97
rect 68 47 120 63
rect 150 165 202 177
rect 150 131 160 165
rect 194 131 202 165
rect 150 97 202 131
rect 150 63 160 97
rect 194 63 202 97
rect 150 47 202 63
<< pdiff >>
rect 68 485 120 497
rect 68 451 76 485
rect 110 451 120 485
rect 68 417 120 451
rect 68 383 76 417
rect 110 383 120 417
rect 68 349 120 383
rect 68 315 76 349
rect 110 315 120 349
rect 68 297 120 315
rect 150 485 202 497
rect 150 451 160 485
rect 194 451 202 485
rect 150 417 202 451
rect 150 383 160 417
rect 194 383 202 417
rect 150 349 202 383
rect 150 315 160 349
rect 194 315 202 349
rect 150 297 202 315
<< ndiffc >>
rect 76 131 110 165
rect 76 63 110 97
rect 160 131 194 165
rect 160 63 194 97
<< pdiffc >>
rect 76 451 110 485
rect 76 383 110 417
rect 76 315 110 349
rect 160 451 194 485
rect 160 383 194 417
rect 160 315 194 349
<< poly >>
rect 120 497 150 523
rect 120 265 150 297
rect 64 249 150 265
rect 64 215 80 249
rect 114 215 150 249
rect 64 199 150 215
rect 120 177 150 199
rect 120 21 150 47
<< polycont >>
rect 80 215 114 249
<< locali >>
rect 0 527 29 561
rect 63 527 121 561
rect 155 527 213 561
rect 247 527 276 561
rect 68 485 110 527
rect 68 451 76 485
rect 68 417 110 451
rect 68 383 76 417
rect 68 349 110 383
rect 68 315 76 349
rect 68 299 110 315
rect 144 485 210 493
rect 144 451 160 485
rect 194 451 210 485
rect 144 417 210 451
rect 144 383 160 417
rect 194 383 210 417
rect 144 349 210 383
rect 144 315 160 349
rect 194 315 210 349
rect 144 297 210 315
rect 64 249 130 263
rect 64 215 80 249
rect 114 215 130 249
rect 64 165 110 181
rect 164 177 210 297
rect 64 131 76 165
rect 64 97 110 131
rect 64 63 76 97
rect 64 17 110 63
rect 144 165 210 177
rect 144 131 160 165
rect 194 131 210 165
rect 144 97 210 131
rect 144 63 160 97
rect 194 63 210 97
rect 144 51 210 63
rect 0 -17 29 17
rect 63 -17 121 17
rect 155 -17 213 17
rect 247 -17 276 17
<< viali >>
rect 29 527 63 561
rect 121 527 155 561
rect 213 527 247 561
rect 29 -17 63 17
rect 121 -17 155 17
rect 213 -17 247 17
<< metal1 >>
rect 0 561 276 592
rect 0 527 29 561
rect 63 527 121 561
rect 155 527 213 561
rect 247 527 276 561
rect 0 496 276 527
rect 0 17 276 48
rect 0 -17 29 17
rect 63 -17 121 17
rect 155 -17 213 17
rect 247 -17 276 17
rect 0 -48 276 -17
<< labels >>
flabel locali s 164 289 198 323 0 FreeSans 340 0 0 0 Y
port 7 nsew
flabel locali s 164 221 198 255 0 FreeSans 340 0 0 0 Y
port 7 nsew
flabel locali s 72 221 106 255 0 FreeSans 340 0 0 0 A
port 6 nsew
flabel nwell s 29 527 63 561 0 FreeSans 200 0 0 0 VPB
port 2 nsew
flabel pwell s 29 -17 63 17 0 FreeSans 200 0 0 0 VNB
port 3 nsew
flabel metal1 s 29 -17 63 17 0 FreeSans 200 0 0 0 VGND
port 4 nsew
flabel metal1 s 29 527 63 561 0 FreeSans 200 0 0 0 VPWR
port 5 nsew
rlabel comment s 0 0 0 0 4 inv_1
<< properties >>
string FIXED_BBOX 0 0 276 544
string path 0.000 0.000 1.380 0.000 
<< end >>

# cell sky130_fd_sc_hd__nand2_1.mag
magic
tech sky130A
magscale 1 2
<< nwell >>
rect -38 261 314 582
<< pwell >>
rect 5 21 275 203
rect 28 -17 62 21
<< scnmos >>
rect 83 47 113 177
rect 167 47 197 177
<< scpmoshvt >>
rect 83 297 113 497
rect 167 297 197 497
<< ndiff >>
rect 31 161 83 177
rect 31 127 39 161
rect 73 127 83 161
rect 31 93 83 127
rect 31 59 39 93
rect 73 59 83 93
rect 31 47 83 59
rect 113 47 167 177
rect 197 161 249 177
rect 197 127 207 161
rect 241 127 249 161
rect 197 93 249 127
rect 197 59 207 93
rect 241 59 249 93
rect 197 47 249 59
<< pdiff >>
rect 31 485 83 497
rect 31 451 39 485
rect 73 451 83 485
rect 31 417 83 451
rect 31 383 39 417
rect 73 383 83 417
rect 31 349 83 383
rect 31 315 39 349
rect 73 315 83 349
rect 31 297 83 315
rect 113 485 167 497
rect 113 451 123 485
rect 157 451 167 485
rect 113 417 167 451
rect 113 383 123 417
rect 157 383 167 417
rect 113 349 167 383
rect 113 315 123 349
rect 157 315 167 349
rect 113 297 167 315
rect 197 485 249 497
rect 197 451 207 485
rect 241 451 249 485
rect 197 417 249 451
rect 197 383 207 417
rect 241 383 249 417
rect 197 349 249 383
rect 197 315 207 349
rect 241 315 249 349
rect 197 297 249 315
<< ndiffc >>
rect 39 127 73 161
rect 39 59 73 93
rect 207 127 241 161
rect 207 59 241 93
<< pdiffc >>
rect 39 451 73 485
rect 39 383 73 417
rect 39 315 73 349
rect 123 451 157 485
rect 123 383 157 417
rect 123 315 157 349
rect 207 451 241 485
rect 207 383 241 417
rect 207 315 241 349
<< poly >>
rect 83 497 113 523
rect 167 497 197 523
rect 83 265 113 297
rect 21 249 113 265
rect 21 215 36 249
rect 70 215 113 249
rect 21 199 113 215
rect 83 177 113 199
rect 167 265 197 297
rect 167 249 255 265
rect 167 215 204 249
rect 238 215 255 249
rect 167 199 255 215
rect 167 177 197 199
rect 83 21 113 47
rect 167 21 197 47
<< polycont >>
rect 36 215 70 249
rect 204 215 238 249
<< locali >>
rect 0 527 29 561
rect 63 527 121 561
rect 155 527 213 561
rect 247 527 276 561
rect 17 485 73 527
rect 17 451 39 485
rect 17 417 73 451
rect 17 383 39 417
rect 17 349 73 383
rect 17 315 39 349
rect 17 299 73 315
rect 107 485 173 493
rect 107 451 123 485
rect 157 451 173 485
rect 107 417 173 451
rect 107 383 123 417
rect 157 383 173 417
rect 107 349 173 383
rect 107 315 123 349
rect 157 315 173 349
rect 107 297 173 315
rect 207 485 259 527
rect 241 451 259 485
rect 207 417 259 451
rect 241 383 259 417
rect 207 349 259 383
rect 241 315 259 349
rect 207 299 259 315
rect 19 249 86 265
rect 19 215 36 249
rect 70 215 86 249
rect 19 211 86 215
rect 120 177 154 297
rect 188 249 255 265
rect 188 215 204 249
rect 238 215 255 249
rect 17 161 79 177
rect 17 127 39 161
rect 73 127 79 161
rect 17 93 79 127
rect 17 59 39 93
rect 73 59 79 93
rect 17 17 79 59
rect 120 161 259 177
rect 120 127 207 161
rect 241 127 259 161
rect 120 93 259 127
rect 120 59 207 93
rect 241 59 259 93
rect 120 51 259 59
rect 0 -17 29 17
rect 63 -17 121 17
rect 155 -17 213 17
rect 247 -17 276 17
<< viali >>
rect 29 527 63 561
rect 121 527 155 561
rect 213 527 247 561
rect 29 -17 63 17
rect 121 -17 155 17
rect 213 -17 247 17
<< metal1 >>
rect 0 561 276 592
rect 0 527 29 561
rect 63 527 121 561
rect 155 527 213 561
rect 247 527 276 561
rect 0 496 276 527
rect 0 17 276 48
rect 0 -17 29 17
rect 63 -17 121 17
rect 155 -17 213 17
rect 247 -17 276 17
rect 0 -48 276 -17
<< labels >>
flabel locali s 120 85 154 119 0 FreeSans 250 0 0 0 Y
port 7 nsew
flabel locali s 120 153 154 187 0 FreeSans 250 0 0 0 Y
port 7 nsew
flabel locali s 120 221 154 255 0 FreeSans 250 0 0 0 Y
port 7 nsew
flabel locali s 28 221 62 255 0 FreeSans 250 0 0 0 B
port 8 nsew
flabel locali s 212 221 246 255 0 FreeSans 250 0 0 0 A
port 6 nsew
flabel nwell s 28 527 62 561 0 FreeSans 200 0 0 0 VPB
port 2 nsew
flabel pwell s 28 -17 62 17 0 FreeSans 200 0 0 0 VNB
port 3 nsew
flabel metal1 s 28 -17 62 17 0 FreeSans 200 0 0 0 VGND
port 4 nsew
flabel metal1 s 28 527 62 561 0 FreeSans 200 0 0 0 VPWR
port 5 nsew
rlabel comment s 0 0 0 0 4 nand2_1
<< properties >>
string FIXED_BBOX 0 0 276 544
string path 0.000 0.000 6.900 0.000 
<< end >>

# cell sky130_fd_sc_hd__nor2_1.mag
magic
tech sky130A
magscale 1 2
<< nwell >>
rect -38 261 314 582
<< pwell >>
rect 1 21 271 203
rect 30 -17 64 21
<< scnmos >>
rect 79 47 109 177
rect 163 47 193 177
<< scpmoshvt >>
rect 79 297 109 497
rect 151 297 181 497
<< ndiff >>
rect 27 163 79 177
rect 27 129 35 163
rect 69 129 79 163
rect 27 95 79 129
rect 27 61 35 95
rect 69 61 79 95
rect 27 47 79 61
rect 109 163 163 177
rect 109 129 119 163
rect 153 129 163 163
rect 109 95 163 129
rect 109 61 119 95
rect 153 61 163 95
rect 109 47 163 61
rect 193 163 245 177
rect 193 129 203 163
rect 237 129 245 163
rect 193 95 245 129
rect 193 61 203 95
rect 237 61 245 95
rect 193 47 245 61
<< pdiff >>
rect 27 485 79 497
rect 27 451 35 485
rect 69 451 79 485
rect 27 417 79 451
rect 27 383 35 417
rect 69 383 79 417
rect 27 349 79 383
rect 27 315 35 349
rect 69 315 79 349
rect 27 297 79 315
rect 109 297 151 497
rect 181 485 233 497
rect 181 451 191 485
rect 225 451 233 485
rect 181 417 233 451
rect 181 383 191 417
rect 225 383 233 417
rect 181 349 233 383
rect 181 315 191 349
rect 225 315 233 349
rect 181 297 233 315
<< ndiffc >>
rect 35 129 69 163
rect 35 61 69 95
rect 119 129 153 163
rect 119 61 153 95
rect 203 129 237 163
rect 203 61 237 95
<< pdiffc >>
rect 35 451 69 485
rect 35 383 69 417
rect 35 315 69 349
rect 191 451 225 485
rect 191 383 225 417
rect 191 315 225 349
<< poly >>
rect 79 497 109 523
rect 151 497 181 523
rect 79 265 109 297
rect 22 249 109 265
rect 22 215 37 249
rect 71 215 109 249
rect 151 265 181 297
rect 151 249 255 265
rect 151 235 205 249
rect 22 199 109 215
rect 79 177 109 199
rect 163 215 205 235
rect 239 215 255 249
rect 163 199 255 215
rect 163 177 193 199
rect 79 21 109 47
rect 163 21 193 47
<< polycont >>
rect 37 215 71 249
rect 205 215 239 249
<< locali >>
rect 0 527 29 561
rect 63 527 121 561
rect 155 527 213 561
rect 247 527 276 561
rect 19 485 85 490
rect 19 451 35 485
rect 69 451 85 485
rect 19 417 85 451
rect 19 383 35 417
rect 69 383 85 417
rect 19 349 85 383
rect 19 315 35 349
rect 69 333 85 349
rect 191 485 257 527
rect 225 451 257 485
rect 191 417 257 451
rect 225 383 257 417
rect 191 349 257 383
rect 69 315 155 333
rect 19 299 155 315
rect 225 315 257 349
rect 191 299 257 315
rect 17 249 87 265
rect 17 215 37 249
rect 71 215 87 249
rect 121 179 155 299
rect 189 249 259 265
rect 189 215 205 249
rect 239 215 259 249
rect 21 163 69 179
rect 21 129 35 163
rect 21 95 69 129
rect 21 61 35 95
rect 21 17 69 61
rect 103 163 169 179
rect 103 129 119 163
rect 153 129 169 163
rect 103 95 169 129
rect 103 61 119 95
rect 153 61 169 95
rect 103 51 169 61
rect 203 163 257 179
rect 237 129 257 163
rect 203 95 257 129
rect 237 61 257 95
rect 203 17 257 61
rect 0 -17 29 17
rect 63 -17 121 17
rect 155 -17 213 17
rect 247 -17 276 17
<< viali >>
rect 29 527 63 561
rect 121 527 155 561
rect 213 527 247 561
rect 29 -17 63 17
rect 121 -17 155 17
rect 213 -17 247 17
<< metal1 >>
rect 0 561 276 592
rect 0 527 29 561
rect 63 527 121 561
rect 155 527 213 561
rect 247 527 276 561
rect 0 496 276 527
rect 0 17 276 48
rect 0 -17 29 17
rect 63 -17 121 17
rect 155 -17 213 17
rect 247 -17 276 17
rect 0 -48 276 -17
<< labels >>
flabel locali s 29 221 63 255 0 FreeSans 200 0 0 0 B
port 7 nsew
flabel locali s 30 425 64 459 0 FreeSans 200 0 0 0 Y
port 8 nsew
flabel locali s 213 221 247 255 0 FreeSans 200 0 0 0 A
port 6 nsew
flabel nwell s 30 527 64 561 0 FreeSans 200 0 0 0 VPB
port 2 nsew
flabel pwell s 30 -17 64 17 0 FreeSans 200 0 0 0 VNB
port 3 nsew
flabel metal1 s 30 -17 64 17 0 FreeSans 200 0 0 0 VGND
port 4 nsew
flabel metal1 s 30 527 64 561 0 FreeSans 200 0 0 0 VPWR
port 5 nsew
rlabel comment s 0 0 0 0 4 nor2_1
<< properties >>
string FIXED_BBOX 0 0 276 544
string path 0.000 0.000 6.900 0.000 
<< end >>

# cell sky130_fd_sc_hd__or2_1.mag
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
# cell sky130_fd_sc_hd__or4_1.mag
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
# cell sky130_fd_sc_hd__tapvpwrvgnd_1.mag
magic
tech sky130A
magscale 1 2
<< nwell >>
rect -38 261 130 582
<< pwell >>
rect 3 38 89 195
<< psubdiff >>
rect 29 145 63 169
rect 29 64 63 111
<< nsubdiff >>
rect 29 456 63 480
rect 29 363 63 422
rect 29 305 63 329
<< psubdiffcont >>
rect 29 111 63 145
<< nsubdiffcont >>
rect 29 422 63 456
rect 29 329 63 363
<< locali >>
rect 0 527 29 561
rect 63 527 92 561
rect 17 456 75 527
rect 17 422 29 456
rect 63 422 75 456
rect 17 363 75 422
rect 17 329 29 363
rect 63 329 75 363
rect 17 294 75 329
rect 17 145 75 162
rect 17 111 29 145
rect 63 111 75 145
rect 17 17 75 111
rect 0 -17 29 17
rect 63 -17 92 17
<< viali >>
rect 29 527 63 561
rect 29 -17 63 17
<< metal1 >>
rect 0 561 92 592
rect 0 527 29 561
rect 63 527 92 561
rect 0 496 92 527
rect 0 17 92 48
rect 0 -17 29 17
rect 63 -17 92 17
rect 0 -48 92 -17
<< labels >>
flabel metal1 s 22 524 75 553 0 FreeSans 200 0 0 0 VPWR
port 2 nsew
flabel metal1 s 21 -18 72 20 0 FreeSans 200 0 0 0 VGND
port 3 nsew
rlabel comment s 0 0 0 0 4 tapvpwrvgnd_1
<< properties >>
string FIXED_BBOX 0 0 92 544
<< end >>
